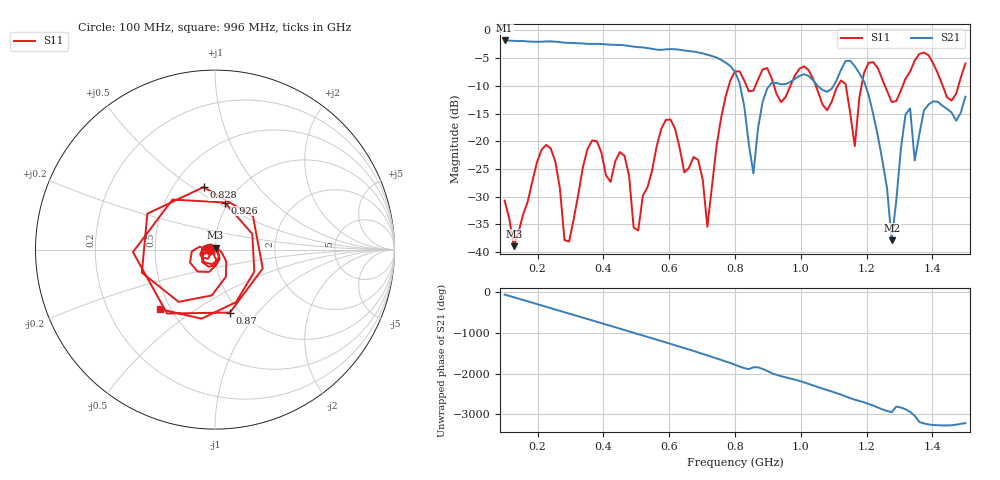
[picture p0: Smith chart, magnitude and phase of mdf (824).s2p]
! NanoVNA-App
! Date: 2025-09-25 15:44:50
! Start: 100MHz Stop: 1,5GHz Points: 101
! S-Parameter data: F S11 S21 S12 S22
# Hz S RI R 50
!  Frequency  S11_Real  S11_Imag  S21_Real  S21_Imag  S12_Real  S12_Imag  S22_Real  S22_Imag
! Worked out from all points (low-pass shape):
!   101 points, 100 MHz to 1.5 GHz, reference 50 ohm
!   highest |S21| = -1.80 dB at 100 MHz (marker M1); lowest = -37.9 dB at 1.276 GHz (marker M2)
!   |S21| within 3 dB of the highest: start of sweep to 739.4 MHz
!   lowest |S11| = -39.0 dB at 128 MHz (marker M3), VSWR 1.02, Z = 50.3 + j1.08 ohm
!   |S11| at or under -10 dB: start of sweep to 781.1 MHz; 918.5 MHz to 968.2 MHz (49.69 MHz wide, 5.27 % of centre); 1.045 GHz to 1.113 GHz (67.09 MHz wide, 6.22 % of centre) (the widest 3 of 7)
!   S12 and S22 are empty: the file has one direction only
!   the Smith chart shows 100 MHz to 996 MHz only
!   S11 on the Smith chart (normalised r, x): 100 MHz: 0.94, -0.01; 828 MHz: 0.70, +0.56; 870 MHz: 0.90, -0.73; 926 MHz: 0.96, +0.55; 996 MHz: 0.44, -0.36
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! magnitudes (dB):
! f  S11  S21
! 100 MHz  -30.7  -1.8
! 128 MHz  -39.0  -1.9
! 212 MHz  -21.6  -2.0
! 282 MHz  -37.9  -2.2
! 338 MHz  -24.7  -2.3
! 464 MHz  -22.6  -2.7
! 506 MHz  -36.1  -3.0
! 576 MHz  -17.8  -3.5
! 716 MHz  -35.5  -4.4
! 800 MHz  -7.4  -7.4
! 828 MHz  -9.0  -13.6
! 856 MHz  -10.9  -25.8
! 870 MHz  -8.9  -17.7
! 926 MHz  -11.4  -9.5
! 996 MHz  -6.9  -8.2
! 1.038 GHz  -8.8  -9.0
! 1.164 GHz  -20.9  -6.5
! 1.192 GHz  -7.7  -9.2
! 1.276 GHz  -12.9  -37.9
! 1.318 GHz  -8.7  -15.2
! 1.346 GHz  -5.4  -23.5
! 1.5 GHz  -6.0  -12.0
